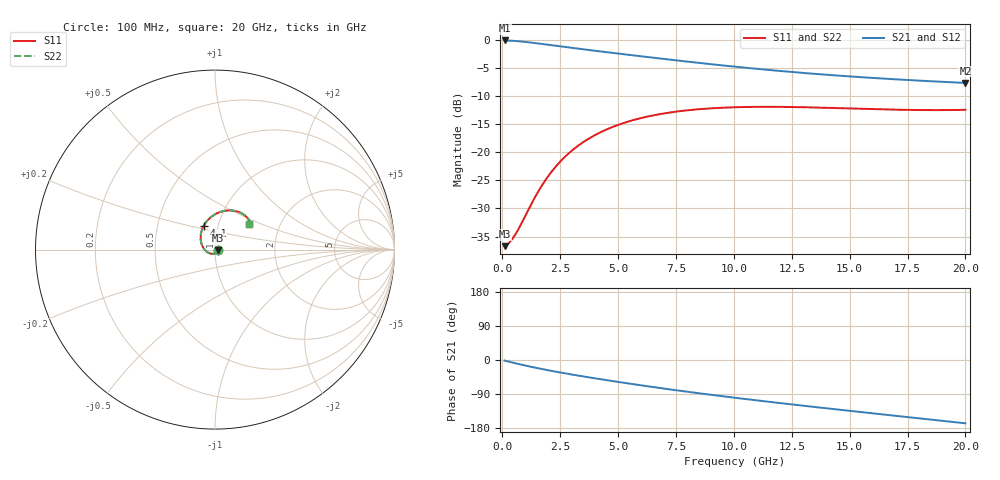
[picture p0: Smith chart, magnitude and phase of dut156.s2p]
! Touchstone file exported from HFSS 2024.1.0
!  File:  C:/UserFiles/LocalFiles/RDL_TSV_Batchsim/temp_RDL_TSV_156_1779432864.aedt
!  Generated:  03:08:09 PM May 22, 2026
!  Design:  RDL_TSV
!  Project:  temp_RDL_TSV_156_1779432864
!  Setup:  Setup1
!  Solution:  Sweep
! Variables:
!  dtsv = 13.67um
!  hbump = 3um
!  htsv = 73.97um
!  ldown = 350.53um
!  lrdl = 248.42um
!  p = 40
!  p1 = 40.79um
!  rhole = 10um
!  subl = 2045.27um
!  t = 450um
!  tdown = 3.23um
!  trdl = 3.42um
!  viad = 10um
!  wdown = 13.46um
!  wrdl = 18.47um
!  xbump = 18um
# GHz S MA R 50.000000
! Terminal data exported
! Port[1] = TM1_1_T1
! Port[2] = TM1_4_T1
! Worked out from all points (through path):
!   200 points, 100 MHz to 20 GHz, reference 50 ohm
!   highest |S21| = -0.13 dB at 100 MHz (marker M1); lowest = -7.7 dB at 20 GHz (marker M2)
!   group delay of S21, straight-line fit = 22 ps
!   lowest |S11| = -36.7 dB at 100 MHz (marker M3), VSWR 1.03, Z = 51.4 - j0.329 ohm
!   |S11| at or under -10 dB: start of sweep to end of sweep
!   |S22| runs from -36.7 to -11.9 dB; largest |S21 - S12| = 9.5e-15
!   S11 on the Smith chart (normalised r, x): 100 MHz: 1.03, -0.01; 4.1 GHz: 0.85, +0.23; 20 GHz: 1.40, +0.42
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0.1  0.01459 -12.7  0.9851 -1.6  0.9851 -1.6  0.01459 -12.7
! Gamma 0 0 0 0
! Port Impedance 50 0 50 0
0.3  0.01569 -38.7  0.9818 -4.6  0.9818 -4.6  0.01569 -38.7
0.6  0.01908 -77.4  0.9729 -9.0  0.9729 -9.0  0.01907 -77.4
1.1  0.02998 -129.2  0.9508 -16.0  0.9508 -16.0  0.02998 -129.3
1.5  0.04283 -158.2  0.9292 -21.3  0.9292 -21.3  0.04285 -158.3
1.8  0.05401 -174.9  0.912 -24.9  0.912 -24.9  0.05404 -175.0
2.1  0.06595 171.3  0.8949 -28.5  0.8949 -28.5  0.066 171.3
2.4  0.07829 159.7  0.878 -31.8  0.878 -31.8  0.07835 159.7
2.8  0.09485 146.7  0.8564 -36.2  0.8564 -36.2  0.09494 146.7
3.5  0.123 128.5  0.821 -43.4  0.821 -43.4  0.1231 128.5
4.1  0.1453 116.1  0.7928 -49.3  0.7928 -49.3  0.1455 116.0
4.7  0.1655 105.6  0.7661 -55.1  0.7661 -55.1  0.1657 105.6
5.3  0.1834 96.6  0.7406 -60.6  0.7406 -60.6  0.1836 96.5
6.8  0.2179 78.6  0.6813 -73.9  0.6813 -73.9  0.2181 78.6
8.4  0.2401 64.5  0.6252 -87.0  0.6252 -87.0  0.2404 64.5
10.1  0.2511 53.4  0.5742 -100.0  0.5742 -100.0  0.2514 53.4
11.7  0.2531 45.8  0.534 -111.6  0.534 -111.6  0.2534 45.8
13.4  0.2499 40.3  0.4988 -123.4  0.4988 -123.4  0.2503 40.3
15  0.2447 37.1  0.4717 -134.2  0.4717 -134.2  0.245 37.1
16.7  0.2394 35.6  0.448 -145.4  0.448 -145.4  0.2397 35.6
18.3  0.2367 35.6  0.4294 -155.9  0.4294 -155.9  0.237 35.6
20  0.238 36.6  0.4127 -167.1  0.4127 -167.1  0.2383 36.5
